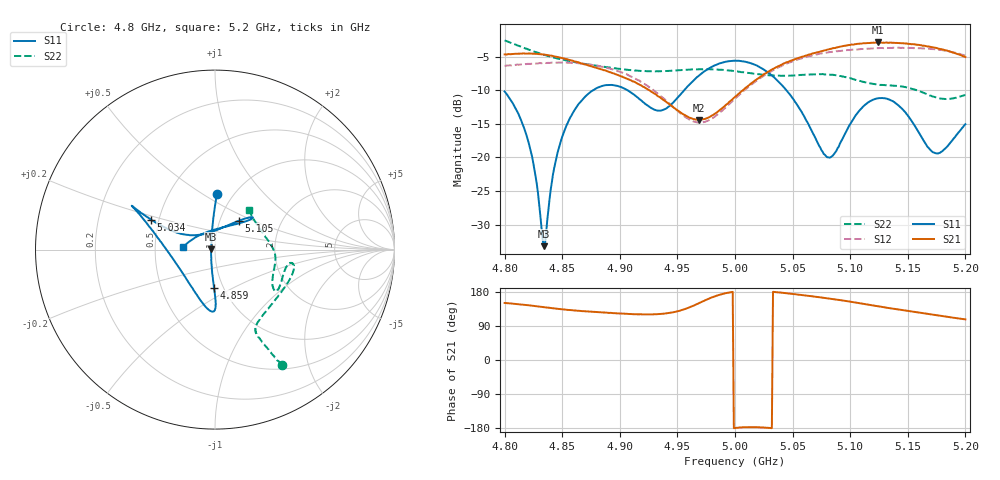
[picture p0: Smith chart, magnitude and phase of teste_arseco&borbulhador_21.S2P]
! Network Analyzer HP8722D
! Hewlett-Packard
! Data name: Linha & Wilkinson
! Saver's name: Rodrigo Anjos
! Comments: Teste da utilização de aquisição
! continua pelo VNA HP8722D
! Time and date: 15/4/2025 15:48
!  Frequency  S11  S21  S12  S22
# HZ  S  MA R 50
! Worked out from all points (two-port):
!   401 points, 4.8 GHz to 5.2 GHz, reference 50 ohm
!   highest |S21| = -2.90 dB at 5.124 GHz (marker M1); lowest = -14.4 dB at 4.969 GHz (marker M2)
!   |S21| within 3 dB of the highest: start of sweep to 4.865 GHz; 5.044 GHz to end of sweep
!   lowest |S11| = -33.2 dB at 4.834 GHz (marker M3), VSWR 1.04, Z = 47.9 + j0.261 ohm
!   |S11| at or under -10 dB: start of sweep to 4.877 GHz; 4.907 GHz to 4.956 GHz (49.37 MHz wide, 1 % of centre); 5.045 GHz to end of sweep
!   |S22| runs from -11.3 to -2.6 dB; largest |S21 - S12| = 1.3
!   S11 on the Smith chart (normalised r, x): 4.8 GHz: 0.84, +0.57; 4.859 GHz: 0.90, -0.40; 5.034 GHz: 0.45, +0.18; 5.105 GHz: 1.23, +0.41; 5.2 GHz: 0.70, +0.02
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4.8e9  0.3092 88.1  0.5836 150.5  0.4806 -111.4  0.7407 -60.0
4.812e9  0.2107 91.2  0.591 147.3  0.4886 -111.1  0.6768 -61.1
4.821e9  0.1275 96.3  0.5929 144.4  0.496 -110.6  0.6325 -61.8
4.827e9  0.07143 105.2  0.5891 142.2  0.4984 -110.2  0.6065 -62.4
4.834e9  0.02188 172.9  0.5825 139.4  0.5027 -109.6  0.5795 -62.8
4.836e9  0.02733 -142.7  0.5786 138.5  0.5029 -109.3  0.5738 -63.0
4.841e9  0.06522 -108.6  0.5702 136.9  0.5069 -109.1  0.5573 -63.2
4.845e9  0.09975 -100.4  0.5593 135.4  0.5065 -108.9  0.5458 -63.5
4.859e9  0.2125 -91.5  0.5238 131.1  0.5047 -108.7  0.5154 -63.9
4.867e9  0.2659 -89.6  0.4994 129.0  0.4987 -108.7  0.5012 -63.3
4.895e9  0.3441 -93.7  0.4204 123.7  0.4464 -111.7  0.4598 -57.1
4.934e9  0.2229 -146.1  0.2822 121.1  0.2943 -116.3  0.4368 -35.6
4.969e9  0.4079 158.8  0.1901 150.4  0.1816 -85.3  0.4525 -16.9
5e9  0.5241 152.3  0.2815 -179.6  0.2737 -49.7  0.4372 -9.9
5.034e9  0.3936 154.8  0.4596 179.5  0.4491 -43.4  0.4067 -15.4
5.067e9  0.1559 149.0  0.5914 168.2  0.5735 -46.5  0.414 -29.3
5.083e9  0.1002 101.7  0.641 161.6  0.6078 -49.6  0.4117 -33.8
5.105e9  0.2072 50.7  0.6953 151.4  0.6363 -54.3  0.3765 -31.6
5.124e9  0.2748 41.0  0.7163 141.9  0.649 -60.0  0.3479 -19.9
5.134e9  0.2693 40.1  0.7122 137.1  0.6519 -63.3  0.3437 -12.5
5.174e9  0.1076 104.4  0.6541 118.5  0.6356 -77.4  0.2802 20.0
5.2e9  0.1765 174.4  0.5571 107.2  0.5709 -86.2  0.2913 49.9
